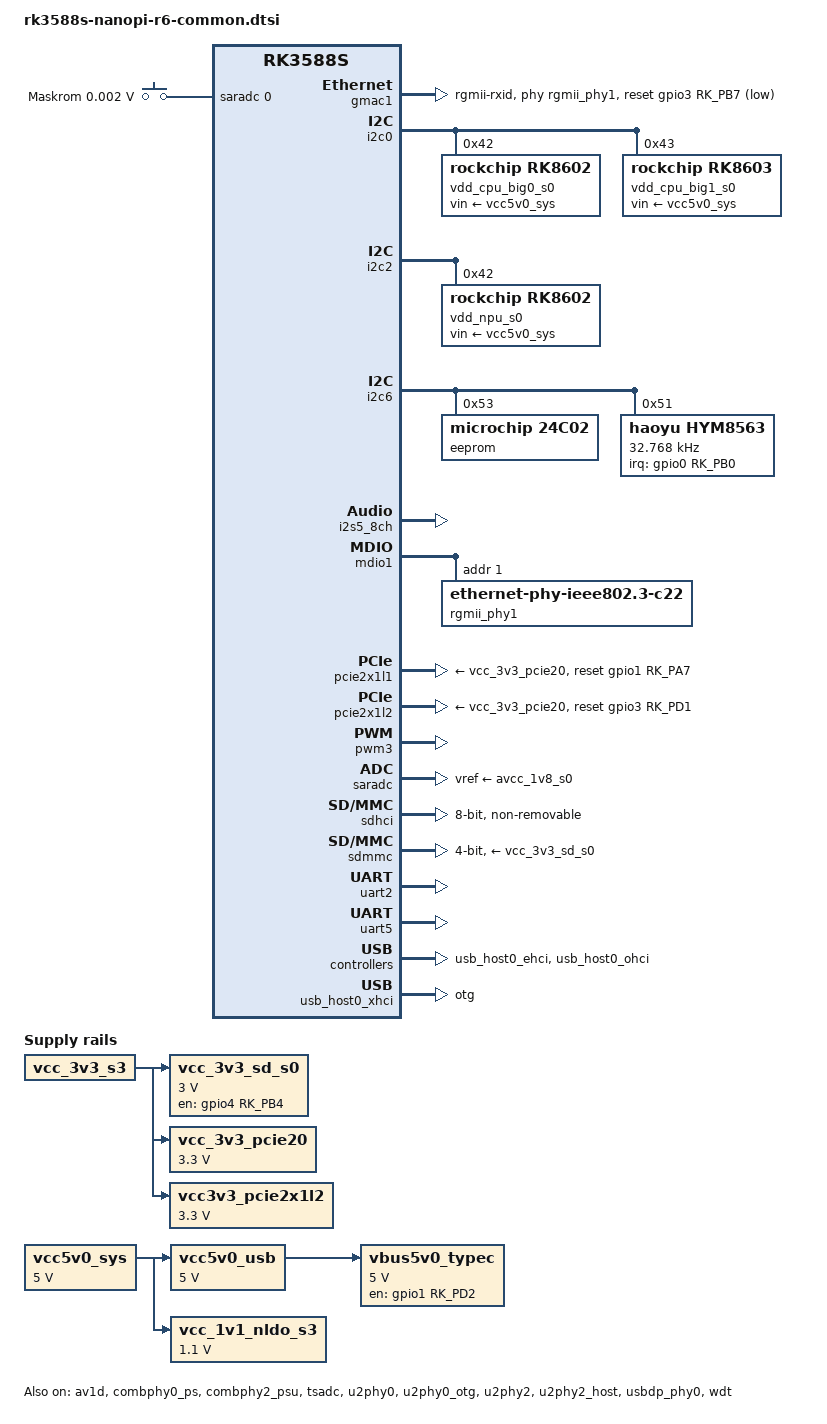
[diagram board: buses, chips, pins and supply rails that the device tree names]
// SPDX-License-Identifier: (GPL-2.0+ OR MIT)
/*
 * Copyright (c) 2022 FriendlyElec Computer Tech. Co., Ltd.
 * (http://www.friendlyelec.com)
 *
 * Copyright (c) 2021 Rockchip Electronics Co., Ltd.
 */

#include <dt-bindings/gpio/gpio.h>
#include <dt-bindings/pwm/pwm.h>
#include <dt-bindings/pinctrl/rockchip.h>
#include <dt-bindings/input/input.h>
#include <dt-bindings/usb/pd.h>
#include "rk3588s.dtsi"
#include "rk3588-rk806-single.dtsi"

/ {
	aliases {
		mmc0 = &sdmmc;
		mmc1 = &sdhci;
		mmc2 = &sdio;
		serial2 = &uart2;
	};

	chosen: chosen {
		bootargs = "earlycon=uart8250,mmio32,0xfeb50000 console=ttyS2,1500000n8 coherent_pool=1m irqchip.gicv3_pseudo_nmi=0";
		stdout-path = "serial2:1500000n8";
		stderr-path = "serial2:1500000n8";
	};

	mach: board {
		compatible = "friendlyelec,board";
		machine = "NANOPI6";
		hwrev = <255>;
		model = "NanoPi 6 Series";
		nvmem-cells = <&otp_id>, <&otp_cpu_version>;
		nvmem-cell-names = "id", "cpu-version";
	};

	adc-keys {
		compatible = "adc-keys";
		io-channels = <&saradc 0>;
		io-channel-names = "buttons";
		keyup-threshold-microvolt = <1800000>;
		poll-interval = <100>;

		button-maskrom {
			label = "Maskrom";
			linux,code = <KEY_VENDOR>;
			press-threshold-microvolt = <1800>;
		};
	};

	vcc5v0_sys: vcc5v0-sys {
		compatible = "regulator-fixed";
		regulator-name = "vcc5v0_sys";
		regulator-always-on;
		regulator-boot-on;
		regulator-min-microvolt = <5000000>;
		regulator-max-microvolt = <5000000>;
	};

	vcc5v0_usb: vcc5v0-usb {
		compatible = "regulator-fixed";
		regulator-name = "vcc5v0_usb";
		regulator-always-on;
		regulator-boot-on;
		regulator-min-microvolt = <5000000>;
		regulator-max-microvolt = <5000000>;
		vin-supply = <&vcc5v0_sys>;
	};

	vcc_1v1_nldo_s3: vcc-1v1-nldo-s3 {
		compatible = "regulator-fixed";
		regulator-name = "vcc_1v1_nldo_s3";
		regulator-always-on;
		regulator-boot-on;
		regulator-min-microvolt = <1100000>;
		regulator-max-microvolt = <1100000>;
		vin-supply = <&vcc5v0_sys>;
	};

	vcc_3v3_sd_s0: vcc-3v3-sd-s0-regulator {
		compatible = "regulator-fixed";
		enable-active-high;
		gpio = <&gpio4 RK_PB4 GPIO_ACTIVE_HIGH>;
		pinctrl-names = "default";
		pinctrl-0 = <&sd_s0_pwr>;
		regulator-always-on;
		regulator-boot-on;
		regulator-max-microvolt = <3000000>;
		regulator-min-microvolt = <3000000>;
		regulator-name = "vcc_3v3_sd_s0";
		vin-supply = <&vcc_3v3_s3>;
	};

	vcc_3v3_pcie20: vcc3v3-pcie20 {
		compatible = "regulator-fixed";
		regulator-name = "vcc_3v3_pcie20";
		regulator-always-on;
		regulator-boot-on;
		regulator-min-microvolt = <3300000>;
		regulator-max-microvolt = <3300000>;
		vin-supply = <&vcc_3v3_s3>;
	};

	vbus5v0_typec: vbus5v0-typec {
		compatible = "regulator-fixed";
		enable-active-high;
		gpio = <&gpio1 RK_PD2 GPIO_ACTIVE_HIGH>;
		pinctrl-names = "default";
		pinctrl-0 = <&typec5v_pwren>;
		regulator-name = "vbus5v0_typec";
		regulator-min-microvolt = <5000000>;
		regulator-max-microvolt = <5000000>;
		vin-supply = <&vcc5v0_usb>;
	};

	vcc3v3_pcie2x1l2: vcc3v3-pcie2x1l2 {
		compatible = "regulator-fixed";
		regulator-name = "vcc3v3_pcie2x1l2";
		regulator-min-microvolt = <3300000>;
		regulator-max-microvolt = <3300000>;
		startup-delay-us = <5000>;
		vin-supply = <&vcc_3v3_s3>;
	};

	test-power {
		status = "okay";
	};
};

&av1d {
	status = "okay";
};

&combphy0_ps {
	status = "okay";
};

&combphy2_psu {
	status = "okay";
};

&cpu_l0 {
	cpu-supply = <&vdd_cpu_lit_s0>;
	mem-supply = <&vdd_cpu_lit_mem_s0>;
};

&cpu_l1 {
	cpu-supply = <&vdd_cpu_lit_s0>;
	mem-supply = <&vdd_cpu_lit_mem_s0>;
};

&cpu_l2 {
	cpu-supply = <&vdd_cpu_lit_s0>;
	mem-supply = <&vdd_cpu_lit_mem_s0>;
};

&cpu_l3 {
	cpu-supply = <&vdd_cpu_lit_s0>;
	mem-supply = <&vdd_cpu_lit_mem_s0>;
};

&cpu_b0 {
	cpu-supply = <&vdd_cpu_big0_s0>;
	mem-supply = <&vdd_cpu_big0_mem_s0>;
};

&cpu_b1 {
	cpu-supply = <&vdd_cpu_big0_s0>;
	mem-supply = <&vdd_cpu_big0_mem_s0>;
};

&cpu_b2 {
	cpu-supply = <&vdd_cpu_big1_s0>;
	mem-supply = <&vdd_cpu_big1_mem_s0>;
};

&cpu_b3 {
	cpu-supply = <&vdd_cpu_big1_s0>;
	mem-supply = <&vdd_cpu_big1_mem_s0>;
};

&gmac1 {
	/* Use rgmii-rxid mode to disable rx delay inside Soc */
	phy-mode = "rgmii-rxid";
	clock_in_out = "output";

	snps,no-vlhash;
	snps,reset-gpio = <&gpio3 RK_PB7 GPIO_ACTIVE_LOW>;
	snps,reset-active-low;
	/* Reset time is 20ms, 100ms for rtl8211f */
	snps,reset-delays-us = <0 20000 100000>;

	pinctrl-names = "default";
	pinctrl-0 = <&gmac1_miim
		     &gmac1_tx_bus2
		     &gmac1_rx_bus2
		     &gmac1_rgmii_clk
		     &gmac1_rgmii_bus>;

	tx_delay = <0x42>;
	rx_delay = <0x4f>;

	phy-handle = <&rgmii_phy1>;
	status = "okay";
};

&i2c0 {
	status = "okay";
	pinctrl-names = "default";
	pinctrl-0 = <&i2c0m2_xfer>;

	vdd_cpu_big0_s0: vdd_cpu_big0_mem_s0: rk8602@42 {
		compatible = "rockchip,rk8602";
		reg = <0x42>;
		vin-supply = <&vcc5v0_sys>;
		regulator-compatible = "rk860x-reg";
		regulator-name = "vdd_cpu_big0_s0";
		regulator-min-microvolt = <550000>;
		regulator-max-microvolt = <1050000>;
		regulator-ramp-delay = <2300>;
		rockchip,suspend-voltage-selector = <1>;
		regulator-boot-on;
		regulator-always-on;
		regulator-state-mem {
			regulator-off-in-suspend;
		};
	};

	vdd_cpu_big1_s0: vdd_cpu_big1_mem_s0: rk8603@43 {
		compatible = "rockchip,rk8603", "rockchip,rk8602";
		reg = <0x43>;
		vin-supply = <&vcc5v0_sys>;
		regulator-compatible = "rk860x-reg";
		regulator-name = "vdd_cpu_big1_s0";
		regulator-min-microvolt = <550000>;
		regulator-max-microvolt = <1050000>;
		regulator-ramp-delay = <2300>;
		rockchip,suspend-voltage-selector = <1>;
		regulator-boot-on;
		regulator-always-on;
		regulator-state-mem {
			regulator-off-in-suspend;
		};
	};
};

&i2c2 {
	status = "okay";

	vdd_npu_s0: vdd_npu_mem_s0: rk8602@42 {
		compatible = "rockchip,rk8602";
		reg = <0x42>;
		vin-supply = <&vcc5v0_sys>;
		regulator-compatible = "rk860x-reg";
		regulator-name = "vdd_npu_s0";
		regulator-min-microvolt = <550000>;
		regulator-max-microvolt = <950000>;
		regulator-ramp-delay = <2300>;
		rockchip,suspend-voltage-selector = <1>;
		regulator-boot-on;
		regulator-always-on;
		regulator-state-mem {
			regulator-off-in-suspend;
		};
	};
};

&i2c3 {
	status = "disabled";
};

&i2c4 {
	status = "disabled";
	pinctrl-names = "default";
	pinctrl-0 = <&i2c4m3_xfer>;
};

&i2c5 {
	status = "disabled";
	pinctrl-names = "default";
	pinctrl-0 = <&i2c5m3_xfer>;
};

&i2c6 {
	status = "okay";
	pinctrl-names = "default";
	pinctrl-0 = <&i2c6m0_xfer>;

	eeprom@53 {
		compatible = "microchip,24c02", "atmel,24c02";
		reg = <0x53>;
		#address-cells = <2>;
		#size-cells = <0>;
		pagesize = <16>;
		size = <256>;

		eui_48: eui-48@fa {
			reg = <0xfa 0x06>;
		};
	};

	hym8563: hym8563@51 {
		compatible = "haoyu,hym8563";
		reg = <0x51>;
		#clock-cells = <0>;
		clock-frequency = <32768>;
		clock-output-names = "hym8563";
		pinctrl-names = "default";
		pinctrl-0 = <&rtc_int>;

		interrupt-parent = <&gpio0>;
		interrupts = <RK_PB0 IRQ_TYPE_LEVEL_LOW>;
		wakeup-source;
	};
};

&i2c7 {
	status = "disabled";
};

&i2c8 {
	status = "disabled";
};

&i2s5_8ch {
	status = "okay";
};

&mdio1 {
	rgmii_phy1: phy@1 {
		compatible = "ethernet-phy-ieee802.3-c22";
		reg = <0x1>;
	};
};

&pcie2x1l1 {
	reset-gpios = <&gpio1 RK_PA7 GPIO_ACTIVE_HIGH>;
	rockchip,init-delay-ms = <100>;
	vpcie3v3-supply = <&vcc_3v3_pcie20>;
	status = "okay";
};

&pcie2x1l2 {
	reset-gpios = <&gpio3 RK_PD1 GPIO_ACTIVE_HIGH>;
	vpcie3v3-supply = <&vcc_3v3_pcie20>;
	status = "okay";
};

&pinctrl {
	hym8563 {
		rtc_int: rtc-int {
			rockchip,pins = <0 RK_PB0 RK_FUNC_GPIO &pcfg_pull_up>;
		};
	};

	sdmmc {
		sd_s0_pwr: sd-s0-pwr {
			rockchip,pins = <4 RK_PB4 RK_FUNC_GPIO &pcfg_pull_up>;
		};
	};

	usb {
		typec5v_pwren: typec5v-pwren {
			rockchip,pins = <1 RK_PD2 RK_FUNC_GPIO &pcfg_pull_none>;
		};

		/omit-if-no-ref/
		usbc0_int: usbc0-int {
			rockchip,pins = <0 RK_PD3 RK_FUNC_GPIO &pcfg_pull_up>;
		};
	};
};

&pwm3 {
	compatible = "rockchip,remotectl-pwm";
	pinctrl-names = "default";
	pinctrl-0 = <&pwm3m0_pins>;
	remote_pwm_id = <3>;
	handle_cpu_id = <1>;
	remote_support_psci = <0>;
	status = "okay";

	ir_key1 {
		rockchip,usercode = <0xc43b>;
		/* /system/usr/keylayout/Generic.kl */
		rockchip,key_table =
			<0xff	KEY_POWER>,
			<0xef	KEY_LEFT>,
			<0xed	KEY_RIGHT>,
			<0xf2	KEY_UP>,
			<0xea	KEY_DOWN>,
			<0xee	KEY_ENTER>,
			<0xe9	KEY_MUTE>,
			<0xf1	KEY_VOLUMEDOWN>,
			<0xf3	KEY_VOLUMEUP>,
			<0xae	KEY_MENU>,
			<0xeb	172>,
			<0xaf	KEY_BACK>,
			<0xf7	204>,
			<0xe5	KEY_SYSRQ>,
			<0xf5	580>;
	};
};

&avcc_1v8_s0 {
	regulator-state-mem {
		regulator-on-in-suspend;
		regulator-suspend-microvolt = <1800000>;
	};
};

&saradc {
	status = "okay";
	vref-supply = <&avcc_1v8_s0>;
};

&sdhci {
	bus-width = <8>;
	no-sdio;
	no-sd;
	non-removable;
	max-frequency = <200000000>;
	mmc-hs400-1_8v;
	mmc-hs400-enhanced-strobe;
	full-pwr-cycle-in-suspend;
	status = "okay";
};

&sdmmc {
	max-frequency = <150000000>;
	no-sdio;
	no-mmc;
	bus-width = <4>;
	cap-mmc-highspeed;
	cap-sd-highspeed;
	disable-wp;
	sd-uhs-sdr104;
	vmmc-supply = <&vcc_3v3_sd_s0>;
	vqmmc-supply = <&vccio_sd_s0>;
	pinctrl-names = "default";
	pinctrl-0 = <&sdmmc_bus4 &sdmmc_clk &sdmmc_cmd &sdmmc_det>;
	status = "okay";
};

&spi0 {
	pinctrl-0 = <&spi0m2_cs0 &spi0m2_pins>;
	status = "disabled";

	spidev0: spidev@0 {
		compatible = "rockchip,spidev";
		reg = <0>;
		spi-max-frequency = <10000000>;
		status = "disabled";
	};
};

&tsadc {
	status = "okay";
};

&uart2 {
	pinctrl-0 = <&uart2m0_xfer>;
	status = "okay";
};

&uart4 {
	pinctrl-0 = <&uart4m2_xfer>;
	status = "disabled";
};

&uart5 {
	pinctrl-0 = <&uart5m1_xfer>;
	status = "okay";
};

&u2phy0 {
	status = "okay";
};

&u2phy0_otg {
	status = "okay";
};

&u2phy2 {
	status = "okay";
};

&u2phy2_host {
	/* connected to USB hub, which is powered by vcc5v0_sys */
	phy-supply = <&vcc5v0_sys>;
	status = "okay";
};

&usb_host0_ehci {
	status = "okay";
};

&usb_host0_ohci {
	status = "okay";
};

&usbdp_phy0 {
	status = "okay";
};

&usb_host0_xhci {
	dr_mode = "otg";
	extcon = <&u2phy0>;
	snps,xhci-trb-ent-quirk;
	status = "okay";
};

&usb_host2_xhci {
	status = "disabled";
};

&vdd_log_s0 {
	regulator-state-mem {
		regulator-on-in-suspend;
		regulator-suspend-microvolt = <750000>;
	};
};

&wdt {
	status = "okay";
};
